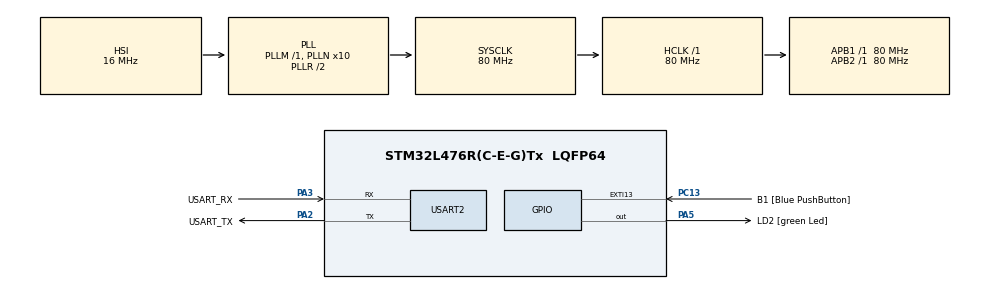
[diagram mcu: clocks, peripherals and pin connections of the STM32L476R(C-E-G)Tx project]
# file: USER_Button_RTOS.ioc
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FREERTOS.Tasks01=defaultTask,0,128,StartDefaultTask,Default,NULL,Dynamic,NULL,NULL
Mcu.Family=STM32L4
Mcu.Name=STM32L476R(C-E-G)Tx
Mcu.Package=LQFP64
NVIC.PriorityGroup=NVIC_PRIORITYGROUP_4
PA13\ (JTMS-SWDIO).GPIO_Label=TMS
PA13\ (JTMS-SWDIO).Mode=Serial_Wire
PA13\ (JTMS-SWDIO).Signal=SYS_JTMS-SWDIO
PA14\ (JTCK-SWCLK).GPIO_Label=TCK
PA14\ (JTCK-SWCLK).Mode=Serial_Wire
PA14\ (JTCK-SWCLK).Signal=SYS_JTCK-SWCLK
PA2.GPIO_Label=USART_TX
PA2.GPIO_Mode=GPIO_MODE_AF_PP
PA2.GPIO_PuPd=GPIO_NOPULL
PA2.GPIO_Speed=GPIO_SPEED_FREQ_VERY_HIGH
PA2.Mode=Asynchronous
PA2.Signal=USART2_TX
PA3.GPIO_Label=USART_RX
PA3.GPIO_Mode=GPIO_MODE_AF_PP
PA3.GPIO_PuPd=GPIO_NOPULL
PA3.GPIO_Speed=GPIO_SPEED_FREQ_VERY_HIGH
PA3.Mode=Asynchronous
PA3.Signal=USART2_RX
PA5.GPIO_Label=LD2 [green Led]
PA5.GPIO_ModeDefaultOutputPP=GPIO_MODE_OUTPUT_PP
PA5.GPIO_PuPd=GPIO_NOPULL
PA5.GPIO_Speed=GPIO_SPEED_FREQ_LOW
PA5.Signal=GPIO_Output
PB3\ (JTDO-TRACESWO).GPIO_Label=SWO
PB3\ (JTDO-TRACESWO).Signal=SYS_JTDO-SWO
PC13.GPIO_Label=B1 [Blue PushButton]
PC13.GPIO_ModeDefaultEXTI=GPIO_MODE_IT_FALLING
PC13.GPIO_PuPd=GPIO_NOPULL
PC13.Signal=GPXTI13
PC14-OSC32_IN\ (PC14).Mode=LSE-External-Oscillator
PC14-OSC32_IN\ (PC14).Signal=RCC_OSC32_IN
PC15-OSC32_OUT\ (PC15).Mode=LSE-External-Oscillator
PC15-OSC32_OUT\ (PC15).Signal=RCC_OSC32_OUT
PH0-OSC_IN\ (PH0).Signal=RCC_OSC_IN
PH1-OSC_OUT\ (PH1).Signal=RCC_OSC_OUT
ProjectManager.HeapSize=0x200
ProjectManager.StackSize=0x400
ProjectManager.TargetToolchain=STM32CubeIDE
RCC.ADCFreq_Value=64000000
RCC.AHBFreq_Value=80000000
RCC.APB1Freq_Value=80000000
RCC.APB1TimFreq_Value=80000000
RCC.APB2Freq_Value=80000000
RCC.APB2TimFreq_Value=80000000
RCC.CortexFreq_Value=80000000
RCC.HCLKFreq_Value=80000000
RCC.HSE_VALUE=8000000
RCC.HSI_VALUE=16000000
RCC.MSI_VALUE=4000000
RCC.PLLN=10
RCC.PLLSourceVirtual=RCC_PLLSOURCE_HSI
RCC.PREFETCH_ENABLE=1
RCC.SYSCLKFreq_VALUE=80000000
RCC.SYSCLKSource=RCC_SYSCLKSOURCE_PLLCLK
RCC.USBFreq_Value=64000000
RCC.VCOOutputFreq_Value=160000000
USART2.VirtualMode-Asynchronous=VM_ASYNC
VP_FREERTOS_VS_CMSIS_V1.Mode=CMSIS_V1
board=NUCLEO-L476RG

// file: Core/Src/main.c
/* USER CODE BEGIN Header */
/**
  ******************************************************************************
  * @file           : main.c
  * @brief          : Main program body
  ******************************************************************************
  * @attention
  *
  * Copyright (c) 2026 STMicroelectronics.
  * All rights reserved.
  *
  * This software is licensed under terms that can be found in the LICENSE file
  * in the root directory of this software component.
  * If no LICENSE file comes with this software, it is provided AS-IS.
  *
  ******************************************************************************
  */
/* USER CODE END Header */
#include "main.h"
#include "cmsis_os.h"

/* USER CODE BEGIN Includes */
#include <string.h>
#include <stdio.h>
/* USER CODE END Includes */

UART_HandleTypeDef huart2;

osThreadId defaultTaskHandle;
/* USER CODE BEGIN PV */
osThreadId ledTaskHandle;
osThreadId buttonTaskHandle;
osThreadId heartbeatTaskHandle;

uint8_t uart_buf[100];
/* USER CODE END PV */

void SystemClock_Config(void);
static void MX_GPIO_Init(void);
static void MX_USART2_UART_Init(void);
void StartDefaultTask(void const * argument);

/* USER CODE BEGIN PFP */
void LedTask(void const * argument);
void ButtonTask(void const * argument);
void HeartbeatTask(void const * argument);
/* USER CODE END PFP */

int main(void)
{

  /* MCU Configuration--------------------------------------------------------*/

  /* Reset of all peripherals, Initializes the Flash interface and the Systick. */
  HAL_Init();

  /* Configure the system clock */
  SystemClock_Config();

  /* Initialize all configured peripherals */
  MX_GPIO_Init();
  MX_USART2_UART_Init();

  /* Create the thread(s) */
  /* definition and creation of defaultTask */
  osThreadDef(defaultTask, StartDefaultTask, osPriorityNormal, 0, 128);
  defaultTaskHandle = osThreadCreate(osThread(defaultTask), NULL);

  /* USER CODE BEGIN RTOS_THREADS */
  /* add threads, ... */
  osThreadDef(ledTask,       LedTask,       osPriorityNormal,      0, 128);
  osThreadDef(buttonTask,    ButtonTask,    osPriorityAboveNormal,  0, 128);
  osThreadDef(heartbeatTask, HeartbeatTask, osPriorityBelowNormal,  0, 128);

  ledTaskHandle       = osThreadCreate(osThread(ledTask),       NULL);
  buttonTaskHandle    = osThreadCreate(osThread(buttonTask),    NULL);
  heartbeatTaskHandle = osThreadCreate(osThread(heartbeatTask), NULL);
  /* USER CODE END RTOS_THREADS */

  /* Start scheduler */
  osKernelStart();

  /* We should never get here as control is now taken by the scheduler */

  /* Infinite loop */
  while (1)
  {

  }
}

void SystemClock_Config(void)
{
  RCC_OscInitTypeDef RCC_OscInitStruct = {0};
  RCC_ClkInitTypeDef RCC_ClkInitStruct = {0};

  /** Configure the main internal regulator output voltage
  */
  if (HAL_PWREx_ControlVoltageScaling(PWR_REGULATOR_VOLTAGE_SCALE1) != HAL_OK)
  {
    Error_Handler();
  }

  /** Initializes the RCC Oscillators according to the specified parameters
  * in the RCC_OscInitTypeDef structure.
  */
  RCC_OscInitStruct.OscillatorType = RCC_OSCILLATORTYPE_HSI;
  RCC_OscInitStruct.HSIState = RCC_HSI_ON;
  RCC_OscInitStruct.HSICalibrationValue = RCC_HSICALIBRATION_DEFAULT;
  RCC_OscInitStruct.PLL.PLLState = RCC_PLL_ON;
  RCC_OscInitStruct.PLL.PLLSource = RCC_PLLSOURCE_HSI;
  RCC_OscInitStruct.PLL.PLLM = 1;
  RCC_OscInitStruct.PLL.PLLN = 10;
  RCC_OscInitStruct.PLL.PLLP = RCC_PLLP_DIV7;
  RCC_OscInitStruct.PLL.PLLQ = RCC_PLLQ_DIV2;
  RCC_OscInitStruct.PLL.PLLR = RCC_PLLR_DIV2;
  if (HAL_RCC_OscConfig(&RCC_OscInitStruct) != HAL_OK)
  {
    Error_Handler();
  }

  /** Initializes the CPU, AHB and APB buses clocks
  */
  RCC_ClkInitStruct.ClockType = RCC_CLOCKTYPE_HCLK|RCC_CLOCKTYPE_SYSCLK
                              |RCC_CLOCKTYPE_PCLK1|RCC_CLOCKTYPE_PCLK2;
  RCC_ClkInitStruct.SYSCLKSource = RCC_SYSCLKSOURCE_PLLCLK;
  RCC_ClkInitStruct.AHBCLKDivider = RCC_SYSCLK_DIV1;
  RCC_ClkInitStruct.APB1CLKDivider = RCC_HCLK_DIV1;
  RCC_ClkInitStruct.APB2CLKDivider = RCC_HCLK_DIV1;

  if (HAL_RCC_ClockConfig(&RCC_ClkInitStruct, FLASH_LATENCY_4) != HAL_OK)
  {
    Error_Handler();
  }
}

static void MX_USART2_UART_Init(void)
{

  huart2.Instance = USART2;
  huart2.Init.BaudRate = 115200;
  huart2.Init.WordLength = UART_WORDLENGTH_8B;
  huart2.Init.StopBits = UART_STOPBITS_1;
  huart2.Init.Parity = UART_PARITY_NONE;
  huart2.Init.Mode = UART_MODE_TX_RX;
  huart2.Init.HwFlowCtl = UART_HWCONTROL_NONE;
  huart2.Init.OverSampling = UART_OVERSAMPLING_16;
  huart2.Init.OneBitSampling = UART_ONE_BIT_SAMPLE_DISABLE;
  huart2.AdvancedInit.AdvFeatureInit = UART_ADVFEATURE_NO_INIT;
  if (HAL_UART_Init(&huart2) != HAL_OK)
  {
    Error_Handler();
  }

}

static void MX_GPIO_Init(void)
{
  GPIO_InitTypeDef GPIO_InitStruct = {0};

  /* GPIO Ports Clock Enable */
  __HAL_RCC_GPIOC_CLK_ENABLE();
  __HAL_RCC_GPIOH_CLK_ENABLE();
  __HAL_RCC_GPIOA_CLK_ENABLE();
  __HAL_RCC_GPIOB_CLK_ENABLE();

  /*Configure GPIO pin Output Level */
  HAL_GPIO_WritePin(LD2_GPIO_Port, LD2_Pin, GPIO_PIN_RESET);

  /*Configure GPIO pin : B1_Pin */
  GPIO_InitStruct.Pin = B1_Pin;
  GPIO_InitStruct.Mode = GPIO_MODE_IT_FALLING;
  GPIO_InitStruct.Pull = GPIO_NOPULL;
  HAL_GPIO_Init(B1_GPIO_Port, &GPIO_InitStruct);

  /*Configure GPIO pin : LD2_Pin */
  GPIO_InitStruct.Pin = LD2_Pin;
  GPIO_InitStruct.Mode = GPIO_MODE_OUTPUT_PP;
  GPIO_InitStruct.Pull = GPIO_NOPULL;
  GPIO_InitStruct.Speed = GPIO_SPEED_FREQ_LOW;
  HAL_GPIO_Init(LD2_GPIO_Port, &GPIO_InitStruct);

}

/* USER CODE BEGIN 4 */

/* ------- LED TASK: blinks LD2 every 500ms ------- */
void LedTask(void const * argument)
{
  uint8_t msg[] = "[LED Task]  LD2 Toggled\r\n";
  for(;;)
  {
    HAL_GPIO_TogglePin(LD2_GPIO_Port, LD2_Pin);
    HAL_UART_Transmit(&huart2, msg, strlen((char*)msg), HAL_MAX_DELAY);
    osDelay(500);
  }
}

/* ------- BUTTON TASK: detects B1 press ------- */
void ButtonTask(void const * argument)
{
  uint8_t pressMsg[]   = "[BTN Task]  Button PRESSED!\r\n";
  uint8_t releaseMsg[] = "[BTN Task]  Button released.\r\n";
  uint8_t prevState    = GPIO_PIN_SET;   // B1 is active LOW on Nucleo

  for(;;)
  {
    GPIO_PinState currentState = HAL_GPIO_ReadPin(B1_GPIO_Port, B1_Pin);

    if (currentState == GPIO_PIN_RESET && prevState == GPIO_PIN_SET)
    {
      // Button just pressed
      HAL_UART_Transmit(&huart2, pressMsg, strlen((char*)pressMsg), HAL_MAX_DELAY);
    }
    else if (currentState == GPIO_PIN_SET && prevState == GPIO_PIN_RESET)
    {
      // Button just released
      HAL_UART_Transmit(&huart2, releaseMsg, strlen((char*)releaseMsg), HAL_MAX_DELAY);
    }

    prevState = currentState;
    osDelay(50);   // 50ms poll = good debounce
  }
}

/* ------- HEARTBEAT TASK: prints status every 2s ------- */
void HeartbeatTask(void const * argument)
{
  uint32_t count = 0;
  for(;;)
  {
    count++;
    int len = snprintf((char*)uart_buf, sizeof(uart_buf),
                       "[HB  Task]  System alive — tick #%lu\r\n", count);
    HAL_UART_Transmit(&huart2, uart_buf, len, HAL_MAX_DELAY);
    osDelay(2000);
  }
}

/* USER CODE END 4 */

void StartDefaultTask(void const * argument)
{
  for(;;)
  {
    osDelay(1);
  }
}

void Error_Handler(void)
{
  __disable_irq();
  while (1)
  {
  }
}
